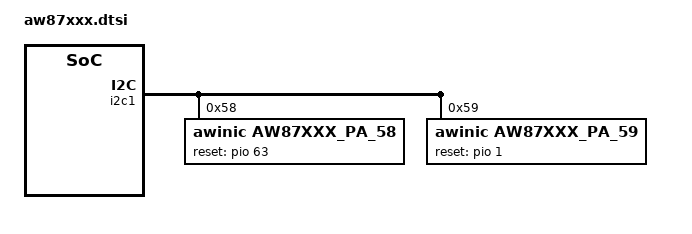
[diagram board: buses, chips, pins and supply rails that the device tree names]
&i2c1 {
/* AWINIC AW87XXX Smart K PA */
	aw87xxx_pa_58@58 {
		compatible = "awinic,aw87xxx_pa_58";
		reg = <0x58>;
		reset-gpio = <&pio 63 0>;
		monitor-flag = <1>;
		pa-channel = < 0 >;
		actflag-gain-array = < 0x00 0x08 0x08 0x08 0x00 >;
		gain-reg-addr = <0x05>;
		monitor-timer-val = <3000>;
		monitor-timer-count-max = <5>;
		status = "okay";
	};

	aw87xxx_pa_59@59 {
		compatible = "awinic,aw87xxx_pa_59";
		reg = <0x59>;
		reset-gpio = <&pio 1 0>;
		monitor-flag = <1>;
		actflag-gain-array = < 0x00 0x08 0x08 0x08 0x00 >;
		gain-reg-addr = <0x05>;
		pa-channel = < 1 >;
		monitor-timer-val = <3000>;
		monitor-timer-count-max = <5>;
		status = "okay";
	};
/* AWINIC AW87XXX Smart K PA End */
};
